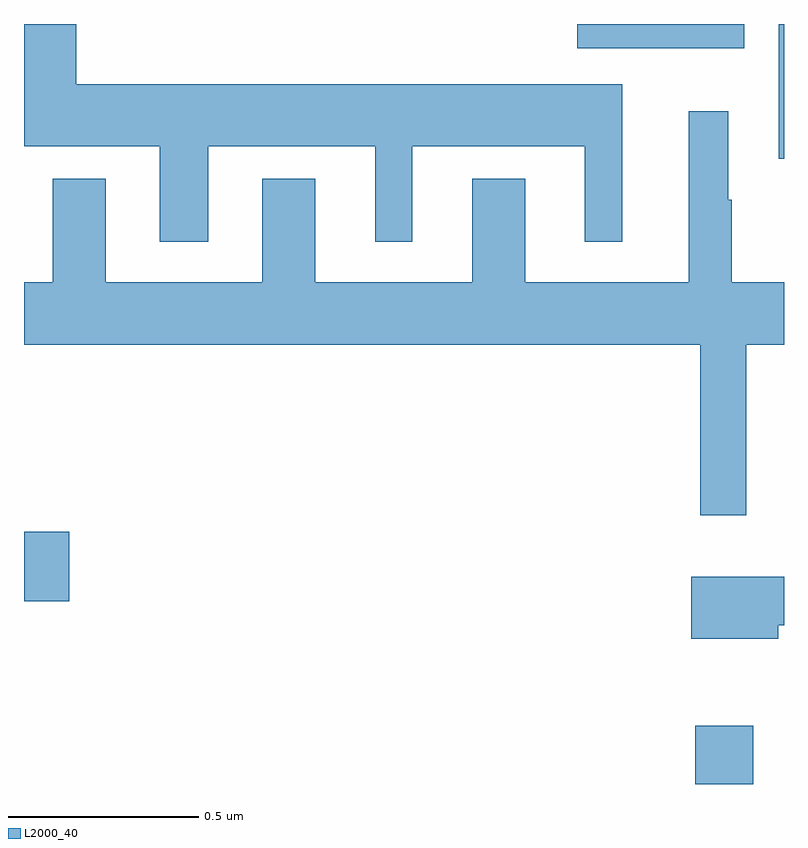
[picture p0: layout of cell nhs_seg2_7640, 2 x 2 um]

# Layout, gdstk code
import gdstk
lib = gdstk.Library(unit=1e-6, precision=1e-09)
def R(c, l, rs):  # rectangles x0, y0, x1, y1
    for r in rs: c.add(gdstk.rectangle(r[:2], r[2:], *l))
def P(c, l, *ps):  # polygons
    for p in ps: c.add(gdstk.Polygon(p, *l))
L2000_40 = (2000, 40)

nhs_seg2_7640 = lib.new_cell('nhs_seg2_7640')
R(nhs_seg2_7640, L2000_40, [(207.767,659.8,207.919,659.953), (206,660.281,206.119,660.464), (207.986,661.446,208,661.8), (207.456,661.736,207.895,661.8)])
P(nhs_seg2_7640, L2000_40, [(206.485,661.478),(206.924,661.478),(206.924,661.227),(207.022,661.227),(207.022,661.478),(207.476,661.478),(207.476,661.227),(207.574,661.227),(207.574,661.642),(206.137,661.642),(206.137,661.8),(206,661.8),(206,661.478),(206.357,661.478),(206.357,661.227),(206.485,661.227)],
  [(207.901,660.956),(208,660.956),(208,661.12),(207.863,661.12),(207.863,661.337),(207.853,661.337),(207.853,661.57),(207.749,661.57),(207.749,661.12),(207.319,661.12),(207.319,661.393),(207.179,661.393),(207.179,661.12),(206.767,661.12),(206.767,661.393),(206.627,661.393),(206.627,661.12),(206.215,661.12),(206.215,661.393),(206.075,661.393),(206.075,661.12),(206,661.12),(206,660.956),(207.78,660.956),(207.78,660.507),(207.901,660.507)],
  [(207.985,660.218),(208,660.218),(208,660.346),(207.756,660.346),(207.756,660.182),(207.985,660.182)])

lib.write_gds('nhs_seg2_7640.gds')
